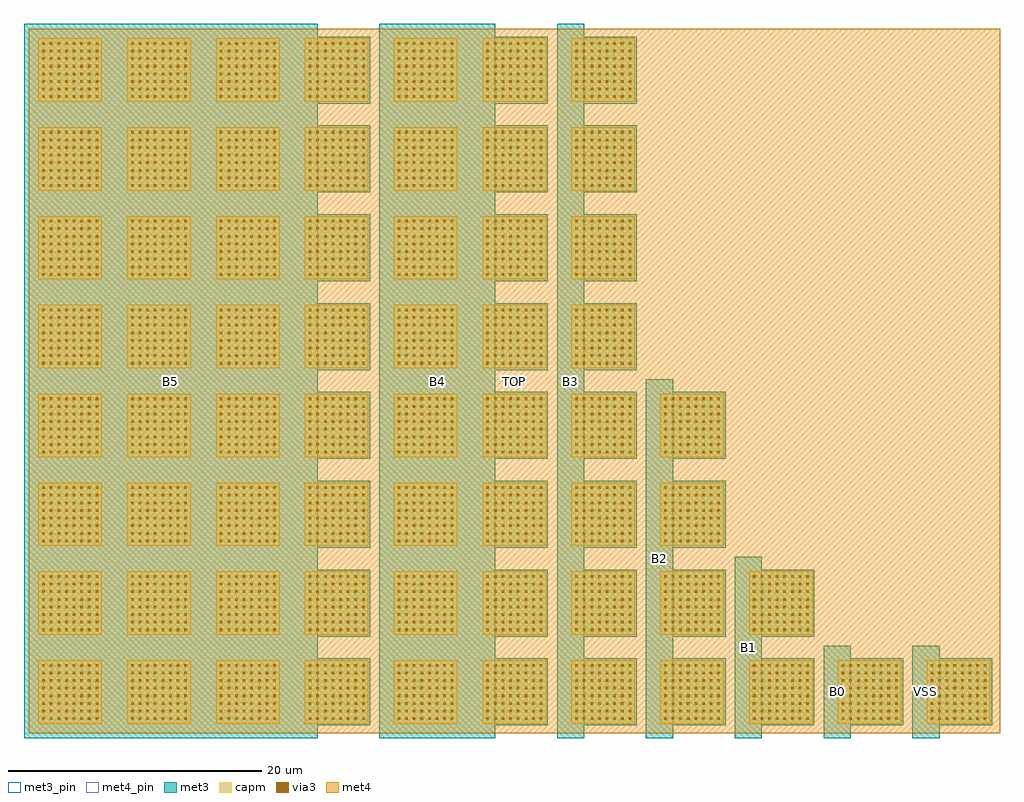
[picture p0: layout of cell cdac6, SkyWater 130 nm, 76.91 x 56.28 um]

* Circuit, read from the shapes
.subckt cdac6 B0 B1 B2 B3 B4 B5 TOP VSS
XC1 TOP B5 sky130_fd_pr__cap_mim_m3_1 w=5 l=5 m=32
XC2 TOP B4 sky130_fd_pr__cap_mim_m3_1 w=5 l=5 m=16
XC3 TOP B3 sky130_fd_pr__cap_mim_m3_1 w=5 l=5 m=8
XC4 TOP B2 sky130_fd_pr__cap_mim_m3_1 w=5 l=5 m=4
XC5 TOP B1 sky130_fd_pr__cap_mim_m3_1 w=5 l=5 m=2
XC6 TOP B0 sky130_fd_pr__cap_mim_m3_1 w=5 l=5
XC7 TOP VSS sky130_fd_pr__cap_mim_m3_1 w=5 l=5
.ends

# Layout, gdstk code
import gdstk
lib = gdstk.Library(unit=1e-6, precision=1e-09)
def R(c, l, rs):  # rectangles x0, y0, x1, y1
    for r in rs: c.add(gdstk.rectangle(r[:2], r[2:], *l))
def A(c, l, x, y, w, h, nx, ny, dx, dy):  # array of equal rectangles
    R(c, l, [(x+i*dx, y+j*dy, x+i*dx+w, y+j*dy+h) for i in range(nx) for j in range(ny)])
met3_pin = (70, 16)
met3 = (70, 20)
via3 = (70, 44)
met4_pin = (71, 16)
met4 = (71, 20)
capm = (89, 44)

cdac6 = lib.new_cell('cdac6')
R(cdac6, met3_pin, [(-1.14,-1.14,22,55.14), (26.86,-1.14,36,55.14), (40.86,-1.14,43,55.14), (47.86,-1.14,50,27.14), (54.86,-1.14,57,13.14), (61.86,-1.14,64,6.14), (68.86,-1.14,71,6.14)])
A(cdac6, met3, -0.14, -0.14, 5.28, 5.28, 11, 1, 7, 0)
A(cdac6, met3, -0.14, 6.86, 5.28, 5.28, 9, 1, 7, 0)
A(cdac6, met3, -0.14, 13.86, 5.28, 5.28, 8, 2, 7, 7)
A(cdac6, met3, -0.14, 27.86, 5.28, 5.28, 7, 4, 7, 7)
R(cdac6, met3, [(-1.14,-1.14,22,55.14), (26.86,-1.14,36,55.14), (40.86,-1.14,43,55.14), (47.86,-1.14,50,27.14), (54.86,-1.14,57,13.14), (61.86,-1.14,64,6.14), (68.86,-1.14,71,6.14)])
A(cdac6, via3, 0.3, 0.3, 0.2, 0.2, 8, 8, 0.6, 0.6)
A(cdac6, via3, 7.3, 0.3, 0.2, 0.2, 8, 8, 0.6, 0.6)
A(cdac6, via3, 14.3, 0.3, 0.2, 0.2, 8, 8, 0.6, 0.6)
A(cdac6, via3, 21.3, 0.3, 0.2, 0.2, 8, 8, 0.6, 0.6)
A(cdac6, via3, 28.3, 0.3, 0.2, 0.2, 8, 8, 0.6, 0.6)
A(cdac6, via3, 35.3, 0.3, 0.2, 0.2, 8, 8, 0.6, 0.6)
A(cdac6, via3, 42.3, 0.3, 0.2, 0.2, 8, 8, 0.6, 0.6)
A(cdac6, via3, 49.3, 0.3, 0.2, 0.2, 8, 8, 0.6, 0.6)
A(cdac6, via3, 56.3, 0.3, 0.2, 0.2, 8, 8, 0.6, 0.6)
A(cdac6, via3, 63.3, 0.3, 0.2, 0.2, 8, 8, 0.6, 0.6)
A(cdac6, via3, 70.3, 0.3, 0.2, 0.2, 8, 8, 0.6, 0.6)
A(cdac6, via3, 0.3, 7.3, 0.2, 0.2, 8, 8, 0.6, 0.6)
A(cdac6, via3, 7.3, 7.3, 0.2, 0.2, 8, 8, 0.6, 0.6)
A(cdac6, via3, 14.3, 7.3, 0.2, 0.2, 8, 8, 0.6, 0.6)
A(cdac6, via3, 21.3, 7.3, 0.2, 0.2, 8, 8, 0.6, 0.6)
A(cdac6, via3, 28.3, 7.3, 0.2, 0.2, 8, 8, 0.6, 0.6)
A(cdac6, via3, 35.3, 7.3, 0.2, 0.2, 8, 8, 0.6, 0.6)
A(cdac6, via3, 42.3, 7.3, 0.2, 0.2, 8, 8, 0.6, 0.6)
A(cdac6, via3, 49.3, 7.3, 0.2, 0.2, 8, 8, 0.6, 0.6)
A(cdac6, via3, 56.3, 7.3, 0.2, 0.2, 8, 8, 0.6, 0.6)
A(cdac6, via3, 0.3, 14.3, 0.2, 0.2, 8, 8, 0.6, 0.6)
A(cdac6, via3, 7.3, 14.3, 0.2, 0.2, 8, 8, 0.6, 0.6)
A(cdac6, via3, 14.3, 14.3, 0.2, 0.2, 8, 8, 0.6, 0.6)
A(cdac6, via3, 21.3, 14.3, 0.2, 0.2, 8, 8, 0.6, 0.6)
A(cdac6, via3, 28.3, 14.3, 0.2, 0.2, 8, 8, 0.6, 0.6)
A(cdac6, via3, 35.3, 14.3, 0.2, 0.2, 8, 8, 0.6, 0.6)
A(cdac6, via3, 42.3, 14.3, 0.2, 0.2, 8, 8, 0.6, 0.6)
A(cdac6, via3, 49.3, 14.3, 0.2, 0.2, 8, 8, 0.6, 0.6)
A(cdac6, via3, 0.3, 21.3, 0.2, 0.2, 8, 8, 0.6, 0.6)
A(cdac6, via3, 7.3, 21.3, 0.2, 0.2, 8, 8, 0.6, 0.6)
A(cdac6, via3, 14.3, 21.3, 0.2, 0.2, 8, 8, 0.6, 0.6)
A(cdac6, via3, 21.3, 21.3, 0.2, 0.2, 8, 8, 0.6, 0.6)
A(cdac6, via3, 28.3, 21.3, 0.2, 0.2, 8, 8, 0.6, 0.6)
A(cdac6, via3, 35.3, 21.3, 0.2, 0.2, 8, 8, 0.6, 0.6)
A(cdac6, via3, 42.3, 21.3, 0.2, 0.2, 8, 8, 0.6, 0.6)
A(cdac6, via3, 49.3, 21.3, 0.2, 0.2, 8, 8, 0.6, 0.6)
A(cdac6, via3, 0.3, 28.3, 0.2, 0.2, 8, 8, 0.6, 0.6)
A(cdac6, via3, 7.3, 28.3, 0.2, 0.2, 8, 8, 0.6, 0.6)
A(cdac6, via3, 14.3, 28.3, 0.2, 0.2, 8, 8, 0.6, 0.6)
A(cdac6, via3, 21.3, 28.3, 0.2, 0.2, 8, 8, 0.6, 0.6)
A(cdac6, via3, 28.3, 28.3, 0.2, 0.2, 8, 8, 0.6, 0.6)
A(cdac6, via3, 35.3, 28.3, 0.2, 0.2, 8, 8, 0.6, 0.6)
A(cdac6, via3, 42.3, 28.3, 0.2, 0.2, 8, 8, 0.6, 0.6)
A(cdac6, via3, 0.3, 35.3, 0.2, 0.2, 8, 8, 0.6, 0.6)
A(cdac6, via3, 7.3, 35.3, 0.2, 0.2, 8, 8, 0.6, 0.6)
A(cdac6, via3, 14.3, 35.3, 0.2, 0.2, 8, 8, 0.6, 0.6)
A(cdac6, via3, 21.3, 35.3, 0.2, 0.2, 8, 8, 0.6, 0.6)
A(cdac6, via3, 28.3, 35.3, 0.2, 0.2, 8, 8, 0.6, 0.6)
A(cdac6, via3, 35.3, 35.3, 0.2, 0.2, 8, 8, 0.6, 0.6)
A(cdac6, via3, 42.3, 35.3, 0.2, 0.2, 8, 8, 0.6, 0.6)
A(cdac6, via3, 0.3, 42.3, 0.2, 0.2, 8, 8, 0.6, 0.6)
A(cdac6, via3, 7.3, 42.3, 0.2, 0.2, 8, 8, 0.6, 0.6)
A(cdac6, via3, 14.3, 42.3, 0.2, 0.2, 8, 8, 0.6, 0.6)
A(cdac6, via3, 21.3, 42.3, 0.2, 0.2, 8, 8, 0.6, 0.6)
A(cdac6, via3, 28.3, 42.3, 0.2, 0.2, 8, 8, 0.6, 0.6)
A(cdac6, via3, 35.3, 42.3, 0.2, 0.2, 8, 8, 0.6, 0.6)
A(cdac6, via3, 42.3, 42.3, 0.2, 0.2, 8, 8, 0.6, 0.6)
A(cdac6, via3, 0.3, 49.3, 0.2, 0.2, 8, 8, 0.6, 0.6)
A(cdac6, via3, 7.3, 49.3, 0.2, 0.2, 8, 8, 0.6, 0.6)
A(cdac6, via3, 14.3, 49.3, 0.2, 0.2, 8, 8, 0.6, 0.6)
A(cdac6, via3, 21.3, 49.3, 0.2, 0.2, 8, 8, 0.6, 0.6)
A(cdac6, via3, 28.3, 49.3, 0.2, 0.2, 8, 8, 0.6, 0.6)
A(cdac6, via3, 35.3, 49.3, 0.2, 0.2, 8, 8, 0.6, 0.6)
A(cdac6, via3, 42.3, 49.3, 0.2, 0.2, 8, 8, 0.6, 0.6)
R(cdac6, met4_pin, [(-0.765,-0.765,75.765,54.765)])
A(cdac6, met4, 0, 0.135, 5, 53.73, 7, 1, 7, 0)
A(cdac6, met4, 0.235, 0.235, 4.53, 4.53, 11, 1, 7, 0)
A(cdac6, met4, 0.235, 7.235, 4.53, 4.53, 9, 1, 7, 0)
A(cdac6, met4, 0.235, 14.235, 4.53, 4.53, 8, 2, 7, 7)
A(cdac6, met4, 0.135, 28, 46.73, 5, 1, 4, 0, 7)
A(cdac6, met4, 0.235, 28.235, 4.53, 4.53, 7, 4, 7, 7)
R(cdac6, met4, [(-0.765,-0.765,75.765,54.765), (0.135,0,74.865,5), (49,0.135,54,25.865), (56,0.135,61,11.865), (63,0.135,68,4.865), (70,0.135,75,4.865), (0.135,7,60.865,12), (0.135,14,53.865,19), (0.135,21,53.865,26)])
A(cdac6, capm, 0, 0, 5, 5, 11, 1, 7, 0)
A(cdac6, capm, 0, 7, 5, 5, 9, 1, 7, 0)
A(cdac6, capm, 0, 14, 5, 5, 8, 2, 7, 7)
A(cdac6, capm, 0, 28, 5, 5, 7, 4, 7, 7)
cdac6.add(gdstk.Label('TOP', (37.5,27), layer=71, texttype=16))
cdac6.add(gdstk.Label('TOP', (37.5,27), layer=71, texttype=5))
cdac6.add(gdstk.Label('B5', (10.43,27), layer=70, texttype=16))
cdac6.add(gdstk.Label('B4', (31.43,27), layer=70, texttype=16))
cdac6.add(gdstk.Label('B3', (41.93,27), layer=70, texttype=16))
cdac6.add(gdstk.Label('B2', (48.93,13), layer=70, texttype=16))
cdac6.add(gdstk.Label('B1', (55.93,6), layer=70, texttype=16))
cdac6.add(gdstk.Label('B0', (62.93,2.5), layer=70, texttype=16))
cdac6.add(gdstk.Label('VSS', (69.93,2.5), layer=70, texttype=16))
cdac6.add(gdstk.Label('B5', (10.43,27), layer=70, texttype=5))
cdac6.add(gdstk.Label('B4', (31.43,27), layer=70, texttype=5))
cdac6.add(gdstk.Label('B3', (41.93,27), layer=70, texttype=5))
cdac6.add(gdstk.Label('B2', (48.93,13), layer=70, texttype=5))
cdac6.add(gdstk.Label('B1', (55.93,6), layer=70, texttype=5))
cdac6.add(gdstk.Label('B0', (62.93,2.5), layer=70, texttype=5))
cdac6.add(gdstk.Label('VSS', (69.93,2.5), layer=70, texttype=5))

lib.write_gds('cdac6.gds')
